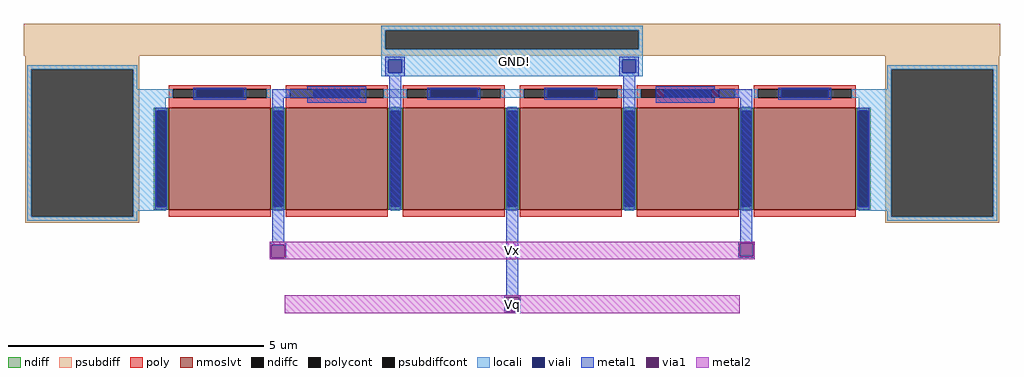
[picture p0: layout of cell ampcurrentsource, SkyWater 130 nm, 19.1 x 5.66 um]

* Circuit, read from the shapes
.subckt ampcurrentsource Vx Vq GND!
XM1 Vx GND! GND! GND! sky130_fd_pr__nfet_01v8_lvt w=2 l=2 m=2
XM2 GND! Vx Vx GND! sky130_fd_pr__nfet_01v8_lvt w=2 l=2 m=2
XM3 Vq Vx GND! GND! sky130_fd_pr__nfet_01v8_lvt w=2 l=2 m=2
.ends

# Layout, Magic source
magic
tech sky130A
magscale 1 2
<< psubdiff >>
rect -960 670 2860 694
rect -960 594 454 670
rect 1446 594 2860 670
rect -960 570 2860 594
rect -956 516 -508 570
rect -956 -60 -932 516
rect -532 -60 -508 516
rect 2410 516 2858 570
rect -956 -84 -508 -60
rect 2410 -60 2434 516
rect 2834 -60 2858 516
rect 2410 -84 2858 -60
<< psubdiffcont >>
rect 454 594 1446 670
rect -932 -60 -532 516
rect 2434 -60 2834 516
<< poly >>
rect 1438 404 1762 438
<< locali >>
rect 438 670 1462 686
rect 438 594 454 670
rect 1446 594 1462 670
rect 438 554 1462 594
rect -948 516 -516 532
rect -948 -60 -932 516
rect -532 438 -516 516
rect 438 502 466 554
rect 518 502 1382 554
rect 1434 502 1462 554
rect 438 490 1462 502
rect 2418 516 2850 532
rect 2418 438 2434 516
rect -532 404 -378 438
rect 464 404 522 438
rect 922 404 980 438
rect 1380 404 1438 438
rect 2280 404 2434 438
rect -532 -38 -406 404
rect 2308 -38 2434 404
rect -532 -60 -516 -38
rect -948 -76 -516 -60
rect 2418 -60 2434 -38
rect 2834 -60 2850 516
rect 2418 -76 2850 -60
<< viali >>
rect 466 502 518 554
rect 1382 502 1434 554
<< metal1 >>
rect 454 554 530 566
rect 454 502 466 554
rect 518 502 530 554
rect 454 490 530 502
rect 1370 554 1446 566
rect 1370 502 1382 554
rect 1434 502 1446 554
rect 1370 490 1446 502
rect 148 438 380 450
rect 12 404 380 438
rect 12 366 56 404
rect 148 386 380 404
rect 12 -164 58 366
rect 470 -22 516 490
rect 2 -170 66 -164
rect 2 -222 8 -170
rect 60 -222 66 -170
rect 2 -228 66 -222
rect 928 -370 974 366
rect 1386 -22 1432 490
rect 1512 438 1744 450
rect 1512 404 1890 438
rect 1512 386 1744 404
rect 1844 -158 1890 404
rect 1836 -164 1900 -158
rect 1836 -216 1842 -164
rect 1894 -216 1900 -164
rect 1836 -222 1900 -216
rect 920 -376 984 -370
rect 920 -428 926 -376
rect 978 -428 984 -376
rect 920 -434 984 -428
<< via1 >>
rect 8 -222 60 -170
rect 1842 -216 1894 -164
rect 926 -428 978 -376
<< metal2 >>
rect 2 -164 1900 -158
rect 2 -170 1842 -164
rect 2 -222 8 -170
rect 60 -216 1842 -170
rect 1894 -216 1900 -164
rect 60 -222 1900 -216
rect 2 -228 1900 -222
rect 60 -376 1842 -368
rect 60 -428 926 -376
rect 978 -428 1842 -376
rect 60 -438 1842 -428
use sky130_fd_pr__nfet_01v8_lvt_NHDRMS  sky130_fd_pr__nfet_01v8_lvt_NHDRMS_0
transform 1 0 951 0 1 197
box -1403 -257 1403 257
<< labels >>
flabel metal2 60 -438 1842 -368 1 FreeSans 800 0 0 0 Vq
port 2 n
flabel metal2 60 -228 1842 -158 1 FreeSans 800 0 0 0 Vx
port 1 n
flabel locali 920 532 1002 560 1 FreeSans 800 0 0 0 GND!
port 3 n
<< end >>

# cell sky130_fd_pr__nfet_01v8_lvt_NHDRMS: kit device sky130_fd_pr__nfet_01v8_lvt, w 2 l 2 m 1 nf 6 diffcov 100 polycov 100 guard 0 glc 1 grc 1 gtc 1 gbc 1 tbcov 100 rlcov 100 topc 1 botc 0 poverlap 0 doverlap 1 lmin 0.15 wmin 0.42 compatible {sky130_fd_pr__nfet_01v8 sky130_fd_pr__nfet_01v8_lvt sky130_fd_bs_flash__special_sonosfet_star sky130_fd_pr__nfet_g5v0d10v5 sky130_fd_pr__nfet_05v0_nvt sky130_fd_pr__nfet_03v3_nvt} full_metal 1 viasrc 100 viadrn 100 viagate 50 viagb 0 viagr 0 viagl 0 viagt 0
